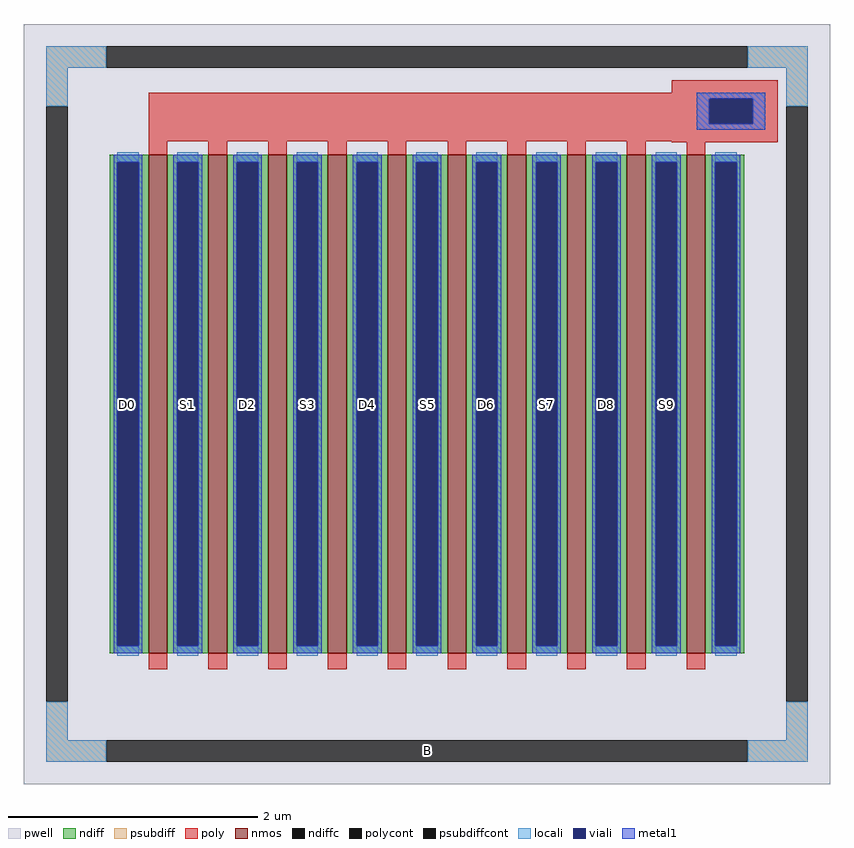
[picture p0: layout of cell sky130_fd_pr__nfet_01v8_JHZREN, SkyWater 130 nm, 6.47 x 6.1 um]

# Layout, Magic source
magic
tech sky130A
magscale 1 2
<< pwell >>
rect -647 -610 647 610
<< nmos >>
rect -447 -400 -417 400
rect -351 -400 -321 400
rect -255 -400 -225 400
rect -159 -400 -129 400
rect -63 -400 -33 400
rect 33 -400 63 400
rect 129 -400 159 400
rect 225 -400 255 400
rect 321 -400 351 400
rect 417 -400 447 400
<< ndiff >>
rect -509 388 -447 400
rect -509 -388 -497 388
rect -463 -388 -447 388
rect -509 -400 -447 -388
rect -417 388 -351 400
rect -417 -388 -401 388
rect -367 -388 -351 388
rect -417 -400 -351 -388
rect -321 388 -255 400
rect -321 -388 -305 388
rect -271 -388 -255 388
rect -321 -400 -255 -388
rect -225 388 -159 400
rect -225 -388 -209 388
rect -175 -388 -159 388
rect -225 -400 -159 -388
rect -129 388 -63 400
rect -129 -388 -113 388
rect -79 -388 -63 388
rect -129 -400 -63 -388
rect -33 388 33 400
rect -33 -388 -17 388
rect 17 -388 33 388
rect -33 -400 33 -388
rect 63 388 129 400
rect 63 -388 79 388
rect 113 -388 129 388
rect 63 -400 129 -388
rect 159 388 225 400
rect 159 -388 175 388
rect 209 -388 225 388
rect 159 -400 225 -388
rect 255 388 321 400
rect 255 -388 271 388
rect 305 -388 321 388
rect 255 -400 321 -388
rect 351 388 417 400
rect 351 -388 367 388
rect 401 -388 417 388
rect 351 -400 417 -388
rect 447 388 509 400
rect 447 -388 463 388
rect 497 -388 509 388
rect 447 -400 509 -388
<< ndiffc >>
rect -497 -388 -463 388
rect -401 -388 -367 388
rect -305 -388 -271 388
rect -209 -388 -175 388
rect -113 -388 -79 388
rect -17 -388 17 388
rect 79 -388 113 388
rect 175 -388 209 388
rect 271 -388 305 388
rect 367 -388 401 388
rect 463 -388 497 388
<< psubdiff >>
rect -611 540 -515 574
rect 515 540 611 574
rect -611 478 -577 540
rect 577 478 611 540
rect -611 -540 -577 -478
rect 577 -540 611 -478
rect -611 -574 -515 -540
rect 515 -574 611 -540
<< psubdiffcont >>
rect -515 540 515 574
rect -611 -478 -577 478
rect 577 -478 611 478
rect -515 -574 515 -540
<< poly >>
rect 393 500 563 520
rect -447 490 563 500
rect -447 450 453 490
rect 523 450 563 490
rect -447 422 563 450
rect -447 400 -417 422
rect -351 400 -321 422
rect -255 400 -225 422
rect -159 400 -129 422
rect -63 400 -33 422
rect 33 400 63 422
rect 129 400 159 422
rect 225 400 255 422
rect 321 400 351 422
rect 393 420 563 422
rect 417 400 447 420
rect -447 -426 -417 -400
rect -351 -426 -321 -400
rect -255 -426 -225 -400
rect -159 -426 -129 -400
rect -63 -426 -33 -400
rect 33 -426 63 -400
rect 129 -426 159 -400
rect 225 -426 255 -400
rect 321 -426 351 -400
rect 417 -426 447 -400
<< polycont >>
rect 453 450 523 490
<< locali >>
rect -611 540 -515 574
rect 515 540 611 574
rect -611 478 -577 540
rect 433 490 543 500
rect 433 450 453 490
rect 523 450 543 490
rect 433 440 543 450
rect 577 478 611 540
rect -497 388 -463 404
rect -497 -404 -463 -388
rect -401 388 -367 404
rect -401 -404 -367 -388
rect -305 388 -271 404
rect -305 -404 -271 -388
rect -209 388 -175 404
rect -209 -404 -175 -388
rect -113 388 -79 404
rect -113 -404 -79 -388
rect -17 388 17 404
rect -17 -404 17 -388
rect 79 388 113 404
rect 79 -404 113 -388
rect 175 388 209 404
rect 175 -404 209 -388
rect 271 388 305 404
rect 271 -404 305 -388
rect 367 388 401 404
rect 367 -404 401 -388
rect 463 388 497 404
rect 463 -404 497 -388
rect -611 -540 -577 -478
rect 577 -540 611 -478
rect -611 -574 -515 -540
rect 515 -574 611 -540
<< viali >>
rect 453 450 523 490
rect -497 -388 -463 388
rect -401 -388 -367 388
rect -305 -388 -271 388
rect -209 -388 -175 388
rect -113 -388 -79 388
rect -17 -388 17 388
rect 79 -388 113 388
rect 175 -388 209 388
rect 271 -388 305 388
rect 367 -388 401 388
rect 463 -388 497 388
<< metal1 >>
rect 433 490 543 500
rect 433 450 453 490
rect 523 450 543 490
rect 433 440 543 450
rect -503 388 -457 400
rect -503 -388 -497 388
rect -463 -388 -457 388
rect -503 -400 -457 -388
rect -407 388 -361 400
rect -407 -388 -401 388
rect -367 -388 -361 388
rect -407 -400 -361 -388
rect -311 388 -265 400
rect -311 -388 -305 388
rect -271 -388 -265 388
rect -311 -400 -265 -388
rect -215 388 -169 400
rect -215 -388 -209 388
rect -175 -388 -169 388
rect -215 -400 -169 -388
rect -119 388 -73 400
rect -119 -388 -113 388
rect -79 -388 -73 388
rect -119 -400 -73 -388
rect -23 388 23 400
rect -23 -388 -17 388
rect 17 -388 23 388
rect -23 -400 23 -388
rect 73 388 119 400
rect 73 -388 79 388
rect 113 -388 119 388
rect 73 -400 119 -388
rect 169 388 215 400
rect 169 -388 175 388
rect 209 -388 215 388
rect 169 -400 215 -388
rect 265 388 311 400
rect 265 -388 271 388
rect 305 -388 311 388
rect 265 -400 311 -388
rect 361 388 407 400
rect 361 -388 367 388
rect 401 -388 407 388
rect 361 -400 407 -388
rect 457 388 503 400
rect 457 -388 463 388
rect 497 -388 503 388
rect 457 -400 503 -388
<< labels >>
rlabel psubdiffcont 0 -557 0 -557 0 B
port 1 nsew
rlabel ndiffc -480 0 -480 0 0 D0
port 2 nsew
rlabel ndiffc -384 0 -384 0 0 S1
port 4 nsew
rlabel ndiffc -288 0 -288 0 0 D2
port 6 nsew
rlabel ndiffc -192 0 -192 0 0 S3
port 8 nsew
rlabel ndiffc -96 0 -96 0 0 D4
port 10 nsew
rlabel ndiffc 0 0 0 0 0 S5
port 12 nsew
rlabel ndiffc 96 0 96 0 0 D6
port 14 nsew
rlabel ndiffc 192 0 192 0 0 S7
port 16 nsew
rlabel ndiffc 288 0 288 0 0 D8
port 18 nsew
rlabel ndiffc 384 0 384 0 0 S9
port 20 nsew
<< properties >>
string FIXED_BBOX -594 -557 594 557
string gencell sky130_fd_pr__nfet_01v8
string library sky130
string parameters w 4.0 l 0.15 m 1 nf 10 diffcov 100 polycov 100 guard 1 glc 1 grc 1 gtc 1 gbc 1 tbcov 100 rlcov 100 topc 1 botc 1 poverlap 0 doverlap 1 lmin 0.15 wmin 0.42 class mosfet compatible {sky130_fd_pr__nfet_01v8 sky130_fd_pr__nfet_01v8_lvt  sky130_fd_bs_flash__special_sonosfet_star  sky130_fd_pr__nfet_g5v0d10v5 sky130_fd_pr__nfet_05v0_nvt  sky130_fd_pr__nfet_03v3_nvt} full_metal 1 conn_gates 0 viasrc 100 viadrn 100 viagate 100 viagb 0 viagr 0 viagl 0 viagt 0 doports 1
<< end >>
